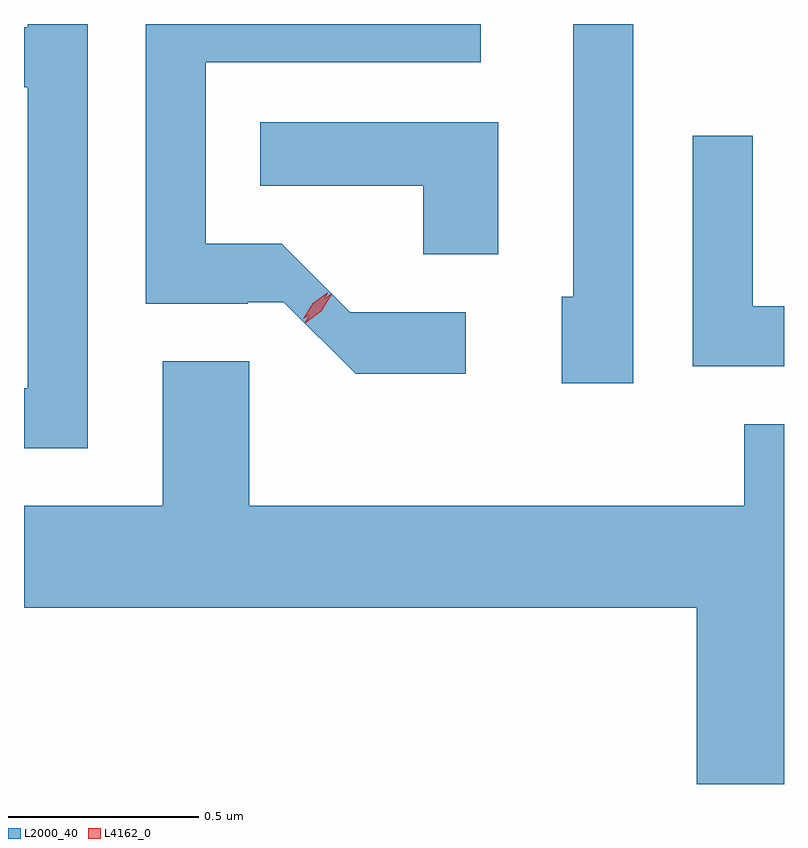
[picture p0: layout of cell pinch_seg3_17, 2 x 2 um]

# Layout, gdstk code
import gdstk
lib = gdstk.Library(unit=1e-6, precision=1e-09)
def P(c, l, *ps):  # polygons
    for p in ps: c.add(gdstk.Polygon(p, *l))
L2000_40 = (2000, 40)
L4162_0 = (4162, 0)

pinch_seg3_17 = lib.new_cell('pinch_seg3_17')
P(pinch_seg3_17, L2000_40, [(851.554,1118.672),(851.396,1118.672),(851.396,1118.664),(851.386,1118.664),(851.386,1118.506),(851.396,1118.506),(851.396,1117.714),(851.386,1117.714),(851.386,1117.556),(851.554,1117.556)],
  [(852.989,1118.672),(852.831,1118.672),(852.831,1117.954),(852.801,1117.954),(852.801,1117.726),(852.989,1117.726)],
  [(852.548,1117.913),(852.245,1117.913),(852.064,1118.094),(851.864,1118.094),(851.864,1118.571),(852.588,1118.571),(852.588,1118.672),(851.706,1118.672),(851.706,1117.936),(851.975,1117.936),(851.975,1117.94),(852.07,1117.94),(852.259,1117.751),(852.548,1117.751)],
  [(852.634,1118.414),(852.008,1118.414),(852.008,1118.246),(852.436,1118.246),(852.436,1118.066),(852.634,1118.066)],
  [(853.386,1117.929),(853.304,1117.929),(853.304,1118.378),(853.146,1118.378),(853.146,1117.771),(853.386,1117.771)],
  [(853.386,1117.619),(853.281,1117.619),(853.281,1117.404),(851.979,1117.404),(851.979,1117.784),(851.751,1117.784),(851.751,1117.404),(851.386,1117.404),(851.386,1117.136),(853.156,1117.136),(853.156,1116.672),(853.386,1116.672)])
P(pinch_seg3_17, L4162_0, [(852.125,1117.885),(852.125,1117.886),(852.153,1117.93),(852.195,1117.962),(852.196,1117.962),(852.196,1117.961),(852.168,1117.916),(852.126,1117.885)],
  [(852.121,1117.896),(852.121,1117.896),(852.146,1117.937),(852.184,1117.965),(852.185,1117.965),(852.185,1117.964),(852.16,1117.923),(852.122,1117.896)])

lib.write_gds('pinch_seg3_17.gds')
